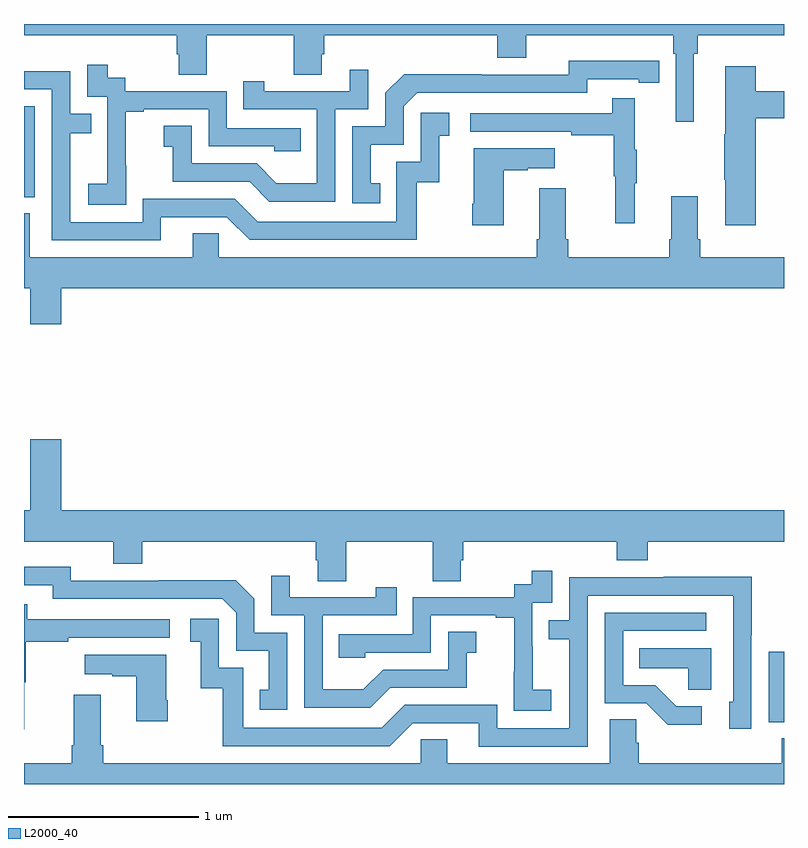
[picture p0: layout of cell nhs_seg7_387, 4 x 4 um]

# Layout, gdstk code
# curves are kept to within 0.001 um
import gdstk
lib = gdstk.Library(unit=1e-6, precision=1e-09)
def R(c, l, rs):  # rectangles x0, y0, x1, y1
    for r in rs: c.add(gdstk.rectangle(r[:2], r[2:], *l))
def P(c, l, *ps):  # polygons
    for p in ps: c.add(gdstk.Polygon(p, *l))
L2000_40 = (2000, 40)

nhs_seg7_387 = lib.new_cell('nhs_seg7_387')
R(nhs_seg7_387, L2000_40, [(144.921,1006.326,145,1006.696), (141,1009.089,141.057,1009.566)])
P(nhs_seg7_387, L2000_40, [(141,1009.94),(141.803,1009.94),(141.803,1009.842),(141.815,1009.842),(141.815,1009.732),(141.963,1009.732),(141.963,1009.94),(142.42,1009.94),(142.42,1009.732),(142.567,1009.732),(142.567,1009.842),(142.58,1009.842),(142.58,1009.94),(143.492,1009.94),(143.492,1009.823),(143.644,1009.823),(143.644,1009.94),(144.416,1009.94),(144.416,1009.844),(144.429,1009.844),(144.429,1009.485),(144.526,1009.485),(144.526,1009.844),(144.545,1009.844),(144.545,1009.94),(145,1009.94),(145,1010),(141,1010)],
  [(142.874,1009.161),(142.825,1009.161),(142.825,1009.365),(142.998,1009.365),(142.998,1009.566),(143.07,1009.638),(143.964,1009.638),(143.964,1009.71),(144.236,1009.71),(144.236,1009.69),(144.344,1009.69),(144.344,1009.806),(143.868,1009.807),(143.868,1009.734),(143.408,1009.734),(143.408,1009.736),(143,1009.736),(142.902,1009.638),(142.902,1009.461),(142.728,1009.461),(142.728,1009.056),(142.874,1009.056)],
  [(141.537,1009.255),(141.536,1009.255),(141.536,1009.539),(141.631,1009.539),(141.631,1009.551),(141.972,1009.551),(141.972,1009.356),(142.317,1009.356),(142.317,1009.329),(142.457,1009.329),(142.457,1009.452),(142.068,1009.452),(142.068,1009.647),(141.534,1009.647),(141.534,1009.716),(141.442,1009.716),(141.442,1009.786),(141.333,1009.786),(141.333,1009.617),(141.438,1009.617),(141.438,1009.388),(141.437,1009.388),(141.437,1009.159),(141.339,1009.159),(141.339,1009.049),(141.537,1009.049)],
  [(144.851,1009.505),(145,1009.505),(145,1009.647),(144.851,1009.647),(144.851,1009.777),(144.692,1009.777),(144.692,1009.421),(144.685,1009.421),(144.685,1009.18),(144.692,1009.18),(144.692,1008.942),(144.851,1008.942)],
  [(142.638,1009.551),(142.812,1009.551),(142.812,1009.759),(142.715,1009.759),(142.715,1009.647),(142.264,1009.647),(142.264,1009.699),(142.153,1009.699),(142.153,1009.551),(142.542,1009.551),(142.542,1009.162),(142.328,1009.162),(142.224,1009.266),(141.882,1009.266),(141.882,1009.465),(141.735,1009.465),(141.735,1009.355),(141.784,1009.355),(141.784,1009.17),(142.187,1009.17),(142.292,1009.065),(142.638,1009.065)],
  [(141.721,1008.984),(142.068,1008.984),(142.188,1008.864),(143.068,1008.864),(143.068,1009.167),(143.186,1009.167),(143.186,1009.413),(143.239,1009.413),(143.239,1009.534),(143.088,1009.534),(143.088,1009.275),(142.959,1009.275),(142.959,1008.96),(142.23,1008.96),(142.11,1009.08),(141.624,1009.08),(141.624,1008.957),(141.243,1008.957),(141.243,1009.426),(141.353,1009.426),(141.353,1009.527),(141.243,1009.527),(141.243,1009.752),(141,1009.752),(141,1009.656),(141.147,1009.656),(141.147,1008.861),(141.721,1008.861)],
  [(144.215,1009.163),(144.226,1009.163),(144.226,1009.337),(144.215,1009.337),(144.215,1009.609),(144.097,1009.609),(144.097,1009.53),(143.349,1009.53),(143.349,1009.434),(143.881,1009.434),(143.881,1009.414),(144.105,1009.414),(144.105,1009.2),(144.112,1009.2),(144.112,1008.951),(144.215,1008.951)],
  [(143.524,1009.231),(143.651,1009.231),(143.651,1009.241),(143.794,1009.241),(143.794,1009.345),(143.366,1009.345),(143.366,1009.054),(143.359,1009.054),(143.359,1008.942),(143.524,1008.942)],
  [(141.196,1008.608),(145,1008.608),(145,1008.772),(144.56,1008.772),(144.56,1008.868),(144.547,1008.868),(144.547,1009.093),(144.407,1009.093),(144.407,1008.868),(144.395,1008.868),(144.395,1008.772),(143.864,1008.772),(143.864,1008.868),(143.851,1008.868),(143.851,1009.135),(143.711,1009.135),(143.711,1008.868),(143.699,1008.868),(143.699,1008.772),(142.026,1008.772),(142.026,1008.899),(141.887,1008.899),(141.887,1008.772),(141.031,1008.772),(141.031,1009.004),(141,1009.004),(141,1008.608),(141.032,1008.608),(141.032,1008.42),(141.196,1008.42)],
  [(142.695,1007.276),(143.152,1007.276),(143.152,1007.068),(143.299,1007.068),(143.299,1007.178),(143.312,1007.178),(143.312,1007.276),(144.119,1007.276),(144.119,1007.177),(144.284,1007.177),(144.284,1007.276),(145,1007.276),(145,1007.44),(141.196,1007.44),(141.196,1007.815),(141.032,1007.815),(141.032,1007.44),(141,1007.44),(141,1007.276),(141.47,1007.276),(141.47,1007.159),(141.623,1007.159),(141.623,1007.276),(142.535,1007.276),(142.535,1007.178),(142.547,1007.178),(142.547,1007.068),(142.695,1007.068)],
  [(142.386,1006.797),(142.212,1006.797),(142.212,1006.974),(142.114,1007.072),(141.706,1007.072),(141.706,1007.07),(141.246,1007.07),(141.246,1007.143),(141,1007.143),(141,1007.046),(141.15,1007.046),(141.15,1006.974),(142.044,1006.974),(142.116,1006.902),(142.116,1006.701),(142.289,1006.701),(142.289,1006.497),(142.24,1006.497),(142.24,1006.392),(142.386,1006.392)],
  [(143.776,1006.495),(143.678,1006.495),(143.678,1006.724),(143.676,1006.724),(143.676,1006.953),(143.781,1006.953),(143.781,1007.122),(143.673,1007.122),(143.673,1007.052),(143.58,1007.052),(143.58,1006.983),(143.046,1006.983),(143.046,1006.788),(142.657,1006.788),(142.657,1006.665),(142.797,1006.665),(142.797,1006.692),(143.142,1006.692),(143.142,1006.887),(143.483,1006.887),(143.483,1006.875),(143.579,1006.875),(143.579,1006.591),(143.578,1006.591),(143.578,1006.385),(143.776,1006.385)],
  [(142.927,1006.506),(143.331,1006.506),(143.331,1006.691),(143.38,1006.691),(143.38,1006.801),(143.232,1006.801),(143.232,1006.602),(142.89,1006.602),(142.786,1006.498),(142.572,1006.498),(142.572,1006.887),(142.961,1006.887),(142.961,1007.035),(142.85,1007.035),(142.85,1006.983),(142.399,1006.983),(142.399,1007.095),(142.302,1007.095),(142.302,1006.887),(142.476,1006.887),(142.476,1006.401),(142.822,1006.401)],
  [(143.967,1006.992),(144.732,1006.992),(144.732,1006.434),(144.713,1006.434),(144.713,1006.29),(144.828,1006.29),(144.828,1006.783),(144.831,1006.783),(144.831,1007.09),(144.367,1007.09),(144.367,1007.088),(143.871,1007.088),(143.871,1006.863),(143.761,1006.863),(143.761,1006.762),(143.871,1006.762),(143.871,1006.293),(143.49,1006.293),(143.49,1006.416),(143.004,1006.416),(142.884,1006.296),(142.155,1006.296),(142.155,1006.611),(142.026,1006.611),(142.026,1006.87),(141.876,1006.87),(141.876,1006.749),(141.929,1006.749),(141.929,1006.503),(142.047,1006.503),(142.047,1006.2),(142.926,1006.2),(143.046,1006.32),(143.393,1006.32),(143.393,1006.197),(143.967,1006.197)],
  [(141.002,1006.536),(141.01,1006.536),(141.01,1006.75),(141.233,1006.75),(141.233,1006.77),(141.766,1006.77),(141.766,1006.866),(141.017,1006.866),(141.017,1006.945),(141,1006.945),(141,1006.287),(141.002,1006.287)],
  [(144.568,1006.41),(144.433,1006.41),(144.322,1006.521),(144.153,1006.521),(144.153,1006.806),(144.592,1006.806),(144.592,1006.902),(144.057,1006.902),(144.057,1006.425),(144.276,1006.425),(144.389,1006.313),(144.568,1006.313)],
  [(144.616,1006.714),(144.238,1006.714),(144.238,1006.61),(144.495,1006.61),(144.495,1006.495),(144.616,1006.495)],
  [(141.756,1006.441),(141.748,1006.441),(141.748,1006.681),(141.321,1006.681),(141.321,1006.577),(141.464,1006.577),(141.464,1006.567),(141.59,1006.567),(141.59,1006.329),(141.756,1006.329)],
  [(145,1006.241),(144.989,1006.241),(144.989,1006.108),(144.236,1006.108),(144.236,1006.217),(144.222,1006.217),(144.222,1006.34),(144.083,1006.34),(144.083,1006.108),(143.227,1006.108),(143.227,1006.235),(143.088,1006.235),(143.088,1006.108),(141.416,1006.108),(141.416,1006.204),(141.403,1006.204),(141.403,1006.471),(141.263,1006.471),(141.263,1006.204),(141.251,1006.204),(141.251,1006.108),(141,1006.108),(141,1006),(145,1006)])

lib.write_gds('nhs_seg7_387.gds')
